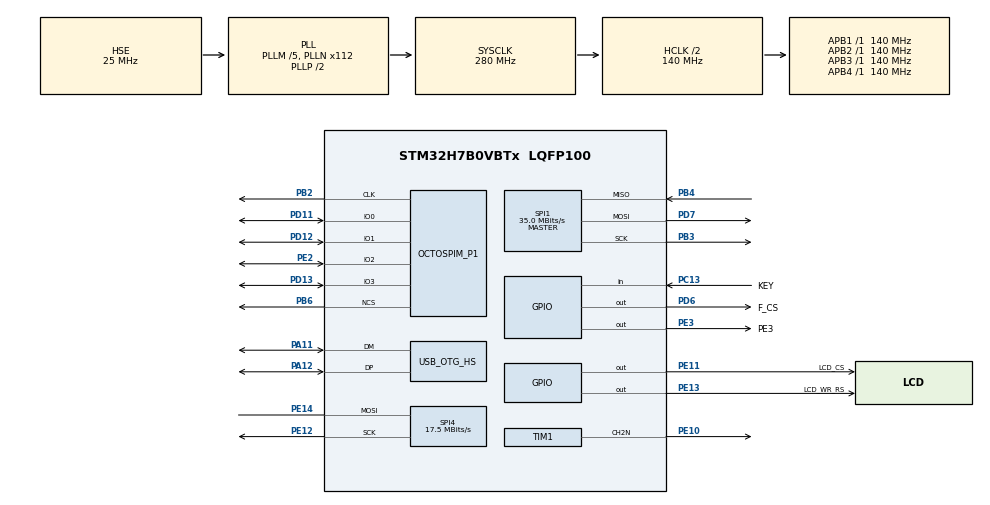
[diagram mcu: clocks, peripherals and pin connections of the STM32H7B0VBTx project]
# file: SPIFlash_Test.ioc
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CORTEX_M7.default_mode_Activation=1
Mcu.Family=STM32H7
Mcu.Name=STM32H7B0VBTx
Mcu.Package=LQFP100
NVIC.OTG_HS_IRQn=true\:1\:0\:true\:false\:true\:false\:true\:true
NVIC.PriorityGroup=NVIC_PRIORITYGROUP_4
OCTOSPI1.ChipSelectHighTime=2
OCTOSPI1.ClockMode=HAL_OSPI_CLOCK_MODE_3
OCTOSPI1.ClockPrescaler=3-1
OCTOSPI1.DelayBlockBypass=HAL_OSPI_DELAY_BLOCK_BYPASSED
OCTOSPI1.DeviceSize=23
OCTOSPI1.FreeRunningClock=HAL_OSPI_FREERUNCLK_DISABLE
OCTOSPI1.SampleShifting=HAL_OSPI_SAMPLE_SHIFTING_HALFCYCLE
PA11.Mode=Device_Only_FS
PA11.Signal=USB_OTG_HS_DM
PA12.Mode=Device_Only_FS
PA12.Signal=USB_OTG_HS_DP
PA13.Mode=Serial_Wire
PA13.Signal=DEBUG_JTMS-SWDIO
PA14.Mode=Serial_Wire
PA14.Signal=DEBUG_JTCK-SWCLK
PB2.Mode=O1_P1_CLK
PB2.Signal=OCTOSPIM_P1_CLK
PB3.Mode=Full_Duplex_Master
PB3.Signal=SPI1_SCK
PB4.Mode=Full_Duplex_Master
PB4.Signal=SPI1_MISO
PB6.Mode=OCTOSPI1_Port1_NCS
PB6.Signal=OCTOSPIM_P1_NCS
PC13.GPIO_Label=KEY
PC13.GPIO_PuPd=GPIO_PULLDOWN
PC13.Signal=GPIO_Input
PC14-OSC32_IN.Mode=LSE-External-Oscillator
PC14-OSC32_IN.Signal=RCC_OSC32_IN
PC15-OSC32_OUT.Mode=LSE-External-Oscillator
PC15-OSC32_OUT.Signal=RCC_OSC32_OUT
PD11.Mode=OCTOSPI1_IOL_Port1L
PD11.Signal=OCTOSPIM_P1_IO0
PD12.Mode=OCTOSPI1_IOL_Port1L
PD12.Signal=OCTOSPIM_P1_IO1
PD13.Mode=OCTOSPI1_IOL_Port1L
PD13.Signal=OCTOSPIM_P1_IO3
PD6.GPIO_Label=F_CS
PD6.Signal=GPIO_Output
PD7.Mode=Full_Duplex_Master
PD7.Signal=SPI1_MOSI
PE10.Mode=PWM Generation2 CH2N
PE10.Signal=TIM1_CH2N
PE11.GPIO_Label=LCD_CS
PE11.PinState=GPIO_PIN_SET
PE11.Signal=GPIO_Output
PE12.Mode=Simplex_Bidirectional_Master
PE12.Signal=SPI4_SCK
PE13.GPIO_Label=LCD_WR_RS
PE13.PinState=GPIO_PIN_SET
PE13.Signal=GPIO_Output
PE14.Mode=Simplex_Bidirectional_Master
PE14.Signal=SPI4_MOSI
PE2.Mode=OCTOSPI1_IOL_Port1L
PE2.Signal=OCTOSPIM_P1_IO2
PE3.GPIO_Label=PE3
PE3.PinState=GPIO_PIN_RESET
PE3.Signal=GPIO_Output
PH0-OSC_IN.Mode=HSE-External-Oscillator
PH0-OSC_IN.Signal=RCC_OSC_IN
PH1-OSC_OUT.Mode=HSE-External-Oscillator
PH1-OSC_OUT.Signal=RCC_OSC_OUT
ProjectManager.HeapSize=0x2000
ProjectManager.StackSize=0x2000
ProjectManager.TargetToolchain=MDK-ARM V5.27
RCC.ADCFreq_Value=50390625
RCC.APB1Freq_Value=140000000
RCC.APB2Freq_Value=140000000
RCC.APB3Freq_Value=140000000
RCC.APB4Freq_Value=140000000
RCC.CortexFreq_Value=280000000
RCC.DIVM1=5
RCC.DIVM3=5
RCC.DIVN1=112
RCC.DIVN3=96
RCC.DIVQ1=4
RCC.DIVQ3=10
RCC.HCLKFreq_Value=140000000
RCC.HPRE=RCC_HCLK_DIV2
RCC.HSE_VALUE=25000000
RCC.PLLSourceVirtual=RCC_PLLSOURCE_HSE
RCC.RTCClockSelection=RCC_RTCCLKSOURCE_LSE
RCC.SYSCLKFreq_VALUE=280000000
RCC.SYSCLKSource=RCC_SYSCLKSOURCE_PLLCLK
RCC.USBCLockSelection=RCC_USBCLKSOURCE_PLL3
RCC.USBFreq_Value=48000000
RTC.Hours=12
RTC.Month=RTC_MONTH_JUNE
RTC.WeekDay=RTC_WEEKDAY_WEDNESDAY
RTC.Year=22
SPI1.BaudRatePrescaler=SPI_BAUDRATEPRESCALER_4
SPI1.CalculateBaudRate=35.0 MBits/s
SPI1.DataSize=SPI_DATASIZE_8BIT
SPI1.Direction=SPI_DIRECTION_2LINES
SPI1.Mode=SPI_MODE_MASTER
SPI1.VirtualType=VM_MASTER
SPI4.BaudRatePrescaler=SPI_BAUDRATEPRESCALER_8
SPI4.CalculateBaudRate=17.5 MBits/s
SPI4.DataSize=SPI_DATASIZE_8BIT
SPI4.Direction=SPI_DIRECTION_1LINE
SPI4.Mode=SPI_MODE_MASTER
SPI4.VirtualType=VM_MASTER
TIM1.Channel-PWM\ Generation2\ CH2N=TIM_CHANNEL_2
TIM1.OCNPolarity_2=TIM_OCNPOLARITY_LOW
TIM1.Period=1000-1
TIM1.Prescaler=14-1
USB_DEVICE.CLASS_NAME_HS=MSC
USB_DEVICE.MSC_MEDIA_PACKET-MSC_HS=4096
USB_DEVICE.VirtualMode-MSC_HS=Msc
USB_DEVICE.VirtualModeHS=Msc_HS
USB_OTG_HS.VirtualMode-Device_Only_FS=Device_Only_FS
VP_OCTOSPI1_VS_quad.Mode=quad_mode
VP_RTC_VS_RTC_Activate.Mode=RTC_Enabled
VP_RTC_VS_RTC_Calendar.Mode=RTC_Calendar
VP_USB_DEVICE_VS_USB_DEVICE_MSC_HS.Mode=MSC_HS
board=custom

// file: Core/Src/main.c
/* USER CODE BEGIN Header */

/*---------------------------------------
- WeAct Studio Official Link
- taobao: weactstudio.taobao.com
- aliexpress: weactstudio.aliexpress.com
- github: github.com/WeActStudio
- gitee: gitee.com/WeActStudio
- blog: blog.weactstudio.com
---------------------------------------*/

/**
 ******************************************************************************
 * @file           : main.c
 * @brief          : Main program body
 ******************************************************************************
 * @attention
 *
 * Copyright (c) 2022 STMicroelectronics.
 * All rights reserved.
 *
 * This software is licensed under terms that can be found in the LICENSE file
 * in the root directory of this software component.
 * If no LICENSE file comes with this software, it is provided AS-IS.
 *
 ******************************************************************************
 */
/* USER CODE END Header */
#include "main.h"
#include "octospi.h"
#include "rtc.h"
#include "spi.h"
#include "tim.h"
#include "usb_device.h"
#include "gpio.h"

/* USER CODE BEGIN Includes */
#include "lcd.h"
/* USER CODE END Includes */

void SystemClock_Config(void);
static void MPU_Config(void);

/* USER CODE BEGIN 0 */
static void CPU_CACHE_Enable(void)
{
  /* Enable I-Cache */
  SCB_EnableICache();

  /* Enable D-Cache */
  SCB_EnableDCache();
}

static void LED_Blink(uint32_t Hdelay, uint32_t Ldelay)
{
  HAL_GPIO_WritePin(PE3_GPIO_Port, PE3_Pin, GPIO_PIN_SET);
  HAL_Delay(Hdelay - 1);
  HAL_GPIO_WritePin(PE3_GPIO_Port, PE3_Pin, GPIO_PIN_RESET);
  HAL_Delay(Ldelay - 1);
}

/**
 * @brief  Get the current time and date.
 * @param
 * @retval None
 */
static void RTC_CalendarShow(RTC_DateTypeDef *sdatestructureget, RTC_TimeTypeDef *stimestructureget)
{
  /* 必须同时获取时间和日�? 不然会导致下次RTC不能读取 */
  /* Both time and date must be obtained or RTC cannot be read next time */
  /* Get the RTC current Time */
  HAL_RTC_GetTime(&hrtc, stimestructureget, RTC_FORMAT_BIN);
  /* Get the RTC current Date */
  HAL_RTC_GetDate(&hrtc, sdatestructureget, RTC_FORMAT_BIN);
}
/* USER CODE END 0 */

int main(void)
{
  /* USER CODE BEGIN 1 */
  CPU_CACHE_Enable();
  /* USER CODE END 1 */

  /* MPU Configuration--------------------------------------------------------*/
  MPU_Config();

  /* MCU Configuration--------------------------------------------------------*/

  /* Reset of all peripherals, Initializes the Flash interface and the Systick. */
  HAL_Init();

  /* Configure the system clock */
  SystemClock_Config();

  /* Initialize all configured peripherals */
  MX_GPIO_Init();
  MX_RTC_Init();
  MX_SPI4_Init();
  MX_TIM1_Init();
  MX_OCTOSPI1_Init();
  MX_SPI1_Init();
  MX_USB_DEVICE_Init();
  /* USER CODE BEGIN 2 */
  LCD_Test();
  uint8_t text[20];
  RTC_DateTypeDef sdatestructureget;
  RTC_TimeTypeDef stimestructureget;
  /* USER CODE END 2 */

  /* Infinite loop */
  while (1)
  {

    /* USER CODE BEGIN 3 */
    RTC_CalendarShow(&sdatestructureget, &stimestructureget);

    if (stimestructureget.Seconds % 2 == 1)
      sprintf((char *)&text, "Time: %02d:%02d", stimestructureget.Hours, stimestructureget.Minutes);
    else
      sprintf((char *)&text, "Time: %02d %02d", stimestructureget.Hours, stimestructureget.Minutes);
    LCD_ShowString(4, 62, 160, 16, 12, text);

    sprintf((char *)&text, "SPIFlash Test");
    LCD_ShowString(80, 62, 160, 16, 12, text);

    LED_Blink(3, 500);
  }
  /* USER CODE END 3 */
}

void SystemClock_Config(void)
{
  RCC_OscInitTypeDef RCC_OscInitStruct = {0};
  RCC_ClkInitTypeDef RCC_ClkInitStruct = {0};

  /** Supply configuration update enable
  */
  HAL_PWREx_ConfigSupply(PWR_LDO_SUPPLY);

  /** Configure the main internal regulator output voltage
  */
  __HAL_PWR_VOLTAGESCALING_CONFIG(PWR_REGULATOR_VOLTAGE_SCALE0);

  while(!__HAL_PWR_GET_FLAG(PWR_FLAG_VOSRDY)) {}

  /** Configure LSE Drive Capability
  */
  HAL_PWR_EnableBkUpAccess();
  __HAL_RCC_LSEDRIVE_CONFIG(RCC_LSEDRIVE_LOW);

  /** Macro to configure the PLL clock source
  */
  __HAL_RCC_PLL_PLLSOURCE_CONFIG(RCC_PLLSOURCE_HSE);

  /** Initializes the RCC Oscillators according to the specified parameters
  * in the RCC_OscInitTypeDef structure.
  */
  RCC_OscInitStruct.OscillatorType = RCC_OSCILLATORTYPE_HSE|RCC_OSCILLATORTYPE_LSE;
  RCC_OscInitStruct.HSEState = RCC_HSE_ON;
  RCC_OscInitStruct.LSEState = RCC_LSE_ON;
  RCC_OscInitStruct.PLL.PLLState = RCC_PLL_ON;
  RCC_OscInitStruct.PLL.PLLSource = RCC_PLLSOURCE_HSE;
  RCC_OscInitStruct.PLL.PLLM = 5;
  RCC_OscInitStruct.PLL.PLLN = 112;
  RCC_OscInitStruct.PLL.PLLP = 2;
  RCC_OscInitStruct.PLL.PLLQ = 4;
  RCC_OscInitStruct.PLL.PLLR = 2;
  RCC_OscInitStruct.PLL.PLLRGE = RCC_PLL1VCIRANGE_2;
  RCC_OscInitStruct.PLL.PLLVCOSEL = RCC_PLL1VCOWIDE;
  RCC_OscInitStruct.PLL.PLLFRACN = 0;
  if (HAL_RCC_OscConfig(&RCC_OscInitStruct) != HAL_OK)
  {
    Error_Handler();
  }

  /** Initializes the CPU, AHB and APB buses clocks
  */
  RCC_ClkInitStruct.ClockType = RCC_CLOCKTYPE_HCLK|RCC_CLOCKTYPE_SYSCLK
                              |RCC_CLOCKTYPE_PCLK1|RCC_CLOCKTYPE_PCLK2
                              |RCC_CLOCKTYPE_D3PCLK1|RCC_CLOCKTYPE_D1PCLK1;
  RCC_ClkInitStruct.SYSCLKSource = RCC_SYSCLKSOURCE_PLLCLK;
  RCC_ClkInitStruct.SYSCLKDivider = RCC_SYSCLK_DIV1;
  RCC_ClkInitStruct.AHBCLKDivider = RCC_HCLK_DIV2;
  RCC_ClkInitStruct.APB3CLKDivider = RCC_APB3_DIV1;
  RCC_ClkInitStruct.APB1CLKDivider = RCC_APB1_DIV1;
  RCC_ClkInitStruct.APB2CLKDivider = RCC_APB2_DIV1;
  RCC_ClkInitStruct.APB4CLKDivider = RCC_APB4_DIV1;

  if (HAL_RCC_ClockConfig(&RCC_ClkInitStruct, FLASH_LATENCY_3) != HAL_OK)
  {
    Error_Handler();
  }
}

/* MPU Configuration */

void MPU_Config(void)
{
  MPU_Region_InitTypeDef MPU_InitStruct = {0};

  /* Disables the MPU */
  HAL_MPU_Disable();

  /** Initializes and configures the Region and the memory to be protected
  */
  MPU_InitStruct.Enable = MPU_REGION_ENABLE;
  MPU_InitStruct.Number = MPU_REGION_NUMBER0;
  MPU_InitStruct.BaseAddress = 0x0;
  MPU_InitStruct.Size = MPU_REGION_SIZE_4GB;
  MPU_InitStruct.SubRegionDisable = 0x87;
  MPU_InitStruct.TypeExtField = MPU_TEX_LEVEL0;
  MPU_InitStruct.AccessPermission = MPU_REGION_NO_ACCESS;
  MPU_InitStruct.DisableExec = MPU_INSTRUCTION_ACCESS_DISABLE;
  MPU_InitStruct.IsShareable = MPU_ACCESS_SHAREABLE;
  MPU_InitStruct.IsCacheable = MPU_ACCESS_NOT_CACHEABLE;
  MPU_InitStruct.IsBufferable = MPU_ACCESS_NOT_BUFFERABLE;

  HAL_MPU_ConfigRegion(&MPU_InitStruct);
  /* Enables the MPU */
  HAL_MPU_Enable(MPU_PRIVILEGED_DEFAULT);

}

void Error_Handler(void)
{
  __disable_irq();
  while (1)
  {
  }
}
